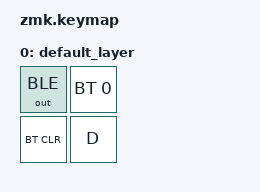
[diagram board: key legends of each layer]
#include <behaviors.dtsi>
#include <dt-bindings/zmk/keys.h>
#include <dt-bindings/zmk/bt.h>
#include <dt-bindings/zmk/outputs.h>

/ {
    chosen {
        zmk,keyboard-name = "FORCE-BLE";
    };

    keymap {
        compatible = "zmk,keymap";

        default_layer {
            bindings = <
                &out OUT_BLE    &bt BT_SEL 0
                &bt BT_CLR      &kp D
            >;
        };
    };
};
